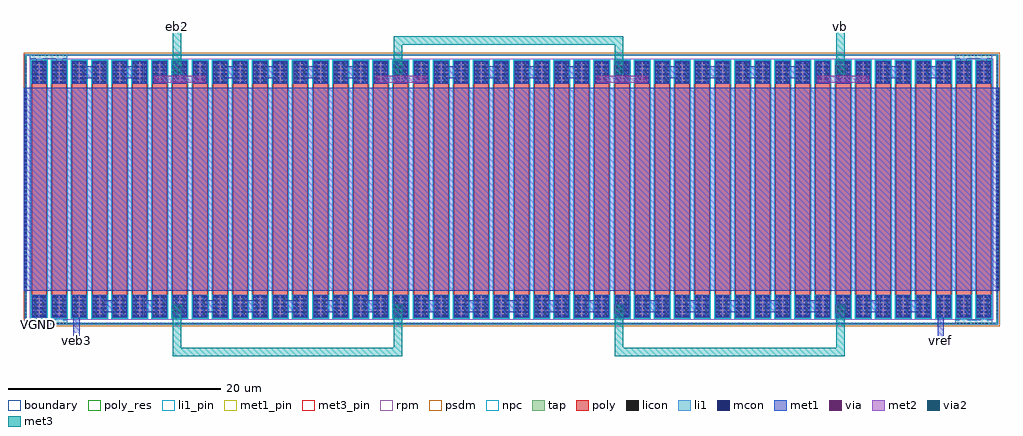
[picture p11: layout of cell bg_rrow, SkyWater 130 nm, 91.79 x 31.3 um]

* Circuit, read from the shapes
.subckt bg_rrow VGND eb2 vb veb3 vref
XR1 VGND VGND VGND sky130_fd_pr__res_high_po w=1.41 l=19.88 m=4
XR2 bg_rrow_arr_0/sky130_fd_pr__res_high_po_1p41_C8HEG8_0/R1_2 veb3 VGND sky130_fd_pr__res_high_po w=1.41 l=19.88
XR3 bg_rrow_arr_0/sky130_fd_pr__res_high_po_1p41_C8HEG8_0/R1_2 bg_rrow_arr_0/sky130_fd_pr__res_high_po_1p41_C8HEG8_0/R2_3 VGND sky130_fd_pr__res_high_po w=1.41 l=19.88
XR4 bg_rrow_arr_0/sky130_fd_pr__res_high_po_1p41_C8HEG8_0/R1_4 bg_rrow_arr_0/sky130_fd_pr__res_high_po_1p41_C8HEG8_0/R2_3 VGND sky130_fd_pr__res_high_po w=1.41 l=19.88
XR5 bg_rrow_arr_0/sky130_fd_pr__res_high_po_1p41_C8HEG8_0/R1_4 bg_rrow_arr_0/sky130_fd_pr__res_high_po_1p41_C8HEG8_0/R2_5 VGND sky130_fd_pr__res_high_po w=1.41 l=19.88
XR6 bg_rrow_arr_0/sky130_fd_pr__res_high_po_1p41_C8HEG8_0/R1_6 bg_rrow_arr_0/sky130_fd_pr__res_high_po_1p41_C8HEG8_0/R2_5 VGND sky130_fd_pr__res_high_po w=1.41 l=19.88
XR7 eb2 bg_rrow_arr_0/sky130_fd_pr__res_high_po_1p41_C8HEG8_0/R2_18 VGND sky130_fd_pr__res_high_po w=1.41 l=19.88
XR8 bg_rrow_arr_0/sky130_fd_pr__res_high_po_1p41_C8HEG8_0/R1_6 bg_rrow_arr_0/sky130_fd_pr__res_high_po_1p41_C8HEG8_0/R2_8 VGND sky130_fd_pr__res_high_po w=1.41 l=19.88
XR9 bg_rrow_arr_0/sky130_fd_pr__res_high_po_1p41_C8HEG8_0/R1_10 bg_rrow_arr_0/sky130_fd_pr__res_high_po_1p41_C8HEG8_0/R2_8 VGND sky130_fd_pr__res_high_po w=1.41 l=19.88
XR10 bg_rrow_arr_0/sky130_fd_pr__res_high_po_1p41_C8HEG8_0/R1_10 bg_rrow_arr_0/sky130_fd_pr__res_high_po_1p41_C8HEG8_0/R2_10 VGND sky130_fd_pr__res_high_po w=1.41 l=19.88
XR11 bg_rrow_arr_0/sky130_fd_pr__res_high_po_1p41_C8HEG8_0/R1_11 bg_rrow_arr_0/sky130_fd_pr__res_high_po_1p41_C8HEG8_0/R2_10 VGND sky130_fd_pr__res_high_po w=1.41 l=19.88
XR12 bg_rrow_arr_0/sky130_fd_pr__res_high_po_1p41_C8HEG8_0/R1_11 bg_rrow_arr_0/sky130_fd_pr__res_high_po_1p41_C8HEG8_0/R2_12 VGND sky130_fd_pr__res_high_po w=1.41 l=19.88
XR13 bg_rrow_arr_0/sky130_fd_pr__res_high_po_1p41_C8HEG8_0/R1_13 bg_rrow_arr_0/sky130_fd_pr__res_high_po_1p41_C8HEG8_0/R2_12 VGND sky130_fd_pr__res_high_po w=1.41 l=19.88
XR14 bg_rrow_arr_0/sky130_fd_pr__res_high_po_1p41_C8HEG8_0/R1_13 bg_rrow_arr_0/sky130_fd_pr__res_high_po_1p41_C8HEG8_0/R2_14 VGND sky130_fd_pr__res_high_po w=1.41 l=19.88
XR15 bg_rrow_arr_0/sky130_fd_pr__res_high_po_1p41_C8HEG8_0/R1_15 bg_rrow_arr_0/sky130_fd_pr__res_high_po_1p41_C8HEG8_0/R2_14 VGND sky130_fd_pr__res_high_po w=1.41 l=19.88
XR16 bg_rrow_arr_0/sky130_fd_pr__res_high_po_1p41_C8HEG8_0/R1_15 bg_rrow_arr_0/sky130_fd_pr__res_high_po_1p41_C8HEG8_0/R2_16 VGND sky130_fd_pr__res_high_po w=1.41 l=19.88
XR17 bg_rrow_arr_0/sky130_fd_pr__res_high_po_1p41_C8HEG8_0/R1_17 bg_rrow_arr_0/sky130_fd_pr__res_high_po_1p41_C8HEG8_0/R2_16 VGND sky130_fd_pr__res_high_po w=1.41 l=19.88
XR18 bg_rrow_arr_0/sky130_fd_pr__res_high_po_1p41_C8HEG8_0/R1_18 bg_rrow_arr_0/sky130_fd_pr__res_high_po_1p41_C8HEG8_0/R2_18 VGND sky130_fd_pr__res_high_po w=1.41 l=19.88
XR19 bg_rrow_arr_0/sky130_fd_pr__res_high_po_1p41_C8HEG8_0/R1_17 bg_rrow_arr_0/sky130_fd_pr__res_high_po_1p41_C8HEG8_0/R2_19 VGND sky130_fd_pr__res_high_po w=1.41 l=19.88
XR20 bg_rrow_arr_0/sky130_fd_pr__res_high_po_1p41_C8HEG8_0/R1_20 bg_rrow_arr_0/sky130_fd_pr__res_high_po_1p41_C8HEG8_0/R2_19 VGND sky130_fd_pr__res_high_po w=1.41 l=19.88
XR21 bg_rrow_arr_0/sky130_fd_pr__res_high_po_1p41_C8HEG8_0/R1_20 bg_rrow_arr_0/sky130_fd_pr__res_high_po_1p41_C8HEG8_0/R2_21 VGND sky130_fd_pr__res_high_po w=1.41 l=19.88
XR22 bg_rrow_arr_0/sky130_fd_pr__res_high_po_1p41_C8HEG8_0/R1_22 bg_rrow_arr_0/sky130_fd_pr__res_high_po_1p41_C8HEG8_0/R2_21 VGND sky130_fd_pr__res_high_po w=1.41 l=19.88
XR23 bg_rrow_arr_0/sky130_fd_pr__res_high_po_1p41_C8HEG8_0/R1_22 bg_rrow_arr_0/sky130_fd_pr__res_high_po_1p41_C8HEG8_0/R2_23 VGND sky130_fd_pr__res_high_po w=1.41 l=19.88
XR24 bg_rrow_arr_0/sky130_fd_pr__res_high_po_1p41_C8HEG8_0/R1_24 bg_rrow_arr_0/sky130_fd_pr__res_high_po_1p41_C8HEG8_0/R2_23 VGND sky130_fd_pr__res_high_po w=1.41 l=19.88
XR25 bg_rrow_arr_0/sky130_fd_pr__res_high_po_1p41_C8HEG8_0/R1_24 bg_rrow_arr_0/sky130_fd_pr__res_high_po_1p41_C8HEG8_0/R2_25 VGND sky130_fd_pr__res_high_po w=1.41 l=19.88
XR26 bg_rrow_arr_0/sky130_fd_pr__res_high_po_1p41_C8HEG8_0/R1_26 bg_rrow_arr_0/sky130_fd_pr__res_high_po_1p41_C8HEG8_0/R2_25 VGND sky130_fd_pr__res_high_po w=1.41 l=19.88
XR27 bg_rrow_arr_0/sky130_fd_pr__res_high_po_1p41_C8HEG8_0/R1_26 bg_rrow_arr_0/sky130_fd_pr__res_high_po_1p41_C8HEG8_0/R2_27 VGND sky130_fd_pr__res_high_po w=1.41 l=19.88
XR28 bg_rrow_arr_0/sky130_fd_pr__res_high_po_1p41_C8HEG8_0/R1_28 bg_rrow_arr_0/sky130_fd_pr__res_high_po_1p41_C8HEG8_0/R2_27 VGND sky130_fd_pr__res_high_po w=1.41 l=19.88
XR29 bg_rrow_arr_0/sky130_fd_pr__res_high_po_1p41_C8HEG8_0/R1_18 bg_rrow_arr_0/sky130_fd_pr__res_high_po_1p41_C8HEG8_0/R2_29 VGND sky130_fd_pr__res_high_po w=1.41 l=19.88
XR30 bg_rrow_arr_0/sky130_fd_pr__res_high_po_1p41_C8HEG8_0/R1_28 bg_rrow_arr_0/sky130_fd_pr__res_high_po_1p41_C8HEG8_0/R2_30 VGND sky130_fd_pr__res_high_po w=1.41 l=19.88
XR31 bg_rrow_arr_0/sky130_fd_pr__res_high_po_1p41_C8HEG8_0/R1_31 bg_rrow_arr_0/sky130_fd_pr__res_high_po_1p41_C8HEG8_0/R2_30 VGND sky130_fd_pr__res_high_po w=1.41 l=19.88
XR32 bg_rrow_arr_0/sky130_fd_pr__res_high_po_1p41_C8HEG8_0/R1_31 bg_rrow_arr_0/sky130_fd_pr__res_high_po_1p41_C8HEG8_0/R2_32 VGND sky130_fd_pr__res_high_po w=1.41 l=19.88
XR33 bg_rrow_arr_0/sky130_fd_pr__res_high_po_1p41_C8HEG8_0/R1_33 bg_rrow_arr_0/sky130_fd_pr__res_high_po_1p41_C8HEG8_0/R2_32 VGND sky130_fd_pr__res_high_po w=1.41 l=19.88
XR34 bg_rrow_arr_0/sky130_fd_pr__res_high_po_1p41_C8HEG8_0/R1_33 bg_rrow_arr_0/sky130_fd_pr__res_high_po_1p41_C8HEG8_0/R2_34 VGND sky130_fd_pr__res_high_po w=1.41 l=19.88
XR35 bg_rrow_arr_0/sky130_fd_pr__res_high_po_1p41_C8HEG8_0/R1_35 bg_rrow_arr_0/sky130_fd_pr__res_high_po_1p41_C8HEG8_0/R2_34 VGND sky130_fd_pr__res_high_po w=1.41 l=19.88
XR36 bg_rrow_arr_0/sky130_fd_pr__res_high_po_1p41_C8HEG8_0/R1_35 bg_rrow_arr_0/sky130_fd_pr__res_high_po_1p41_C8HEG8_0/R2_36 VGND sky130_fd_pr__res_high_po w=1.41 l=19.88
XR37 bg_rrow_arr_0/sky130_fd_pr__res_high_po_1p41_C8HEG8_0/R1_37 bg_rrow_arr_0/sky130_fd_pr__res_high_po_1p41_C8HEG8_0/R2_36 VGND sky130_fd_pr__res_high_po w=1.41 l=19.88
XR38 bg_rrow_arr_0/sky130_fd_pr__res_high_po_1p41_C8HEG8_0/R1_37 bg_rrow_arr_0/sky130_fd_pr__res_high_po_1p41_C8HEG8_0/R2_38 VGND sky130_fd_pr__res_high_po w=1.41 l=19.88
XR39 bg_rrow_arr_0/sky130_fd_pr__res_high_po_1p41_C8HEG8_0/R1_39 bg_rrow_arr_0/sky130_fd_pr__res_high_po_1p41_C8HEG8_0/R2_38 VGND sky130_fd_pr__res_high_po w=1.41 l=19.88
XR40 vb bg_rrow_arr_0/sky130_fd_pr__res_high_po_1p41_C8HEG8_0/R2_29 VGND sky130_fd_pr__res_high_po w=1.41 l=19.88
XR41 bg_rrow_arr_0/sky130_fd_pr__res_high_po_1p41_C8HEG8_0/R1_39 bg_rrow_arr_0/sky130_fd_pr__res_high_po_1p41_C8HEG8_0/R2_41 VGND sky130_fd_pr__res_high_po w=1.41 l=19.88
XR42 bg_rrow_arr_0/sky130_fd_pr__res_high_po_1p41_C8HEG8_0/R1_42 bg_rrow_arr_0/sky130_fd_pr__res_high_po_1p41_C8HEG8_0/R2_41 VGND sky130_fd_pr__res_high_po w=1.41 l=19.88
XR43 bg_rrow_arr_0/sky130_fd_pr__res_high_po_1p41_C8HEG8_0/R1_42 bg_rrow_arr_0/sky130_fd_pr__res_high_po_1p41_C8HEG8_0/R2_43 VGND sky130_fd_pr__res_high_po w=1.41 l=19.88
XR44 bg_rrow_arr_0/sky130_fd_pr__res_high_po_1p41_C8HEG8_0/R1_44 bg_rrow_arr_0/sky130_fd_pr__res_high_po_1p41_C8HEG8_0/R2_43 VGND sky130_fd_pr__res_high_po w=1.41 l=19.88
XR45 bg_rrow_arr_0/sky130_fd_pr__res_high_po_1p41_C8HEG8_0/R1_44 vref VGND sky130_fd_pr__res_high_po w=1.41 l=19.88
.ends

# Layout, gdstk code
import gdstk
lib = gdstk.Library(unit=1e-6, precision=1e-09)
def R(c, l, rs):  # rectangles x0, y0, x1, y1
    for r in rs: c.add(gdstk.rectangle(r[:2], r[2:], *l))
def A(c, l, x, y, w, h, nx, ny, dx, dy):  # array of equal rectangles
    R(c, l, [(x+i*dx, y+j*dy, x+i*dx+w, y+j*dy+h) for i in range(nx) for j in range(ny)])
tap = (65, 44)
poly_res = (66, 13)
poly = (66, 20)
licon = (66, 44)
li1_pin = (67, 16)
li1 = (67, 20)
mcon = (67, 44)
met1_pin = (68, 16)
met1 = (68, 20)
via = (68, 44)
met2 = (69, 20)
via2 = (69, 44)
met3_pin = (70, 16)
met3 = (70, 20)
rpm = (86, 20)
psdm = (94, 20)
npc = (95, 20)
boundary = (235, 4)

sky130_fd_pr__res_high_p = lib.new_cell('sky130_fd_pr__res_high_po_1p41_C8HEG8')
R(sky130_fd_pr__res_high_p, tap, [(-45.77,-12.73,45.77,-12.56), (-45.77,-12.56,-45.6,12.56), (45.6,-12.56,45.77,12.56), (-45.77,12.56,45.77,12.73)])
A(sky130_fd_pr__res_high_p, poly_res, -45.12, -10, 1.41, 20, 48, 1, 1.89, 0)
A(sky130_fd_pr__res_high_p, poly, -45.12, -12.08, 1.41, 24.16, 48, 1, 1.89, 0)
A(sky130_fd_pr__res_high_p, licon, -45.135, -12.73, 0.17, 0.17, 266, 2, 0.34, 25.29)
A(sky130_fd_pr__res_high_p, licon, -45.77, -12.155, 0.17, 0.17, 1, 72, 0, 0.34)
A(sky130_fd_pr__res_high_p, licon, 45.6, -12.155, 0.17, 0.17, 1, 72, 0, 0.34)
R(sky130_fd_pr__res_high_p, licon, [(-44.865,-12,-44.675,-10), (-44.155,-12,-43.965,-10), (-42.975,-12,-42.785,-10), (-42.265,-12,-42.075,-10), (-41.085,-12,-40.895,-10), (-40.375,-12,-40.185,-10), (-39.195,-12,-39.005,-10), (-38.485,-12,-38.295,-10), (-37.305,-12,-37.115,-10), (-36.595,-12,-36.405,-10), (-35.415,-12,-35.225,-10), (-34.705,-12,-34.515,-10), (-33.525,-12,-33.335,-10), (-32.815,-12,-32.625,-10), (-31.635,-12,-31.445,-10), (-30.925,-12,-30.735,-10), (-29.745,-12,-29.555,-10), (-29.035,-12,-28.845,-10), (-27.855,-12,-27.665,-10), (-27.145,-12,-26.955,-10), (-25.965,-12,-25.775,-10), (-25.255,-12,-25.065,-10), (-24.075,-12,-23.885,-10), (-23.365,-12,-23.175,-10), (-22.185,-12,-21.995,-10), (-21.475,-12,-21.285,-10), (-20.295,-12,-20.105,-10), (-19.585,-12,-19.395,-10), (-18.405,-12,-18.215,-10), (-17.695,-12,-17.505,-10), (-16.515,-12,-16.325,-10), (-15.805,-12,-15.615,-10), (-14.625,-12,-14.435,-10), (-13.915,-12,-13.725,-10), (-12.735,-12,-12.545,-10), (-12.025,-12,-11.835,-10), (-10.845,-12,-10.655,-10), (-10.135,-12,-9.945,-10), (-8.955,-12,-8.765,-10), (-8.245,-12,-8.055,-10), (-7.065,-12,-6.875,-10), (-6.355,-12,-6.165,-10), (-5.175,-12,-4.985,-10), (-4.465,-12,-4.275,-10), (-3.285,-12,-3.095,-10), (-2.575,-12,-2.385,-10), (-1.395,-12,-1.205,-10), (-0.685,-12,-0.495,-10), (0.495,-12,0.685,-10), (1.205,-12,1.395,-10), (2.385,-12,2.575,-10), (3.095,-12,3.285,-10), (4.275,-12,4.465,-10), (4.985,-12,5.175,-10), (6.165,-12,6.355,-10), (6.875,-12,7.065,-10), (8.055,-12,8.245,-10), (8.765,-12,8.955,-10), (9.945,-12,10.135,-10), (10.655,-12,10.845,-10), (11.835,-12,12.025,-10), (12.545,-12,12.735,-10), (13.725,-12,13.915,-10), (14.435,-12,14.625,-10), (15.615,-12,15.805,-10), (16.325,-12,16.515,-10), (17.505,-12,17.695,-10), (18.215,-12,18.405,-10), (19.395,-12,19.585,-10), (20.105,-12,20.295,-10), (21.285,-12,21.475,-10), (21.995,-12,22.185,-10), (23.175,-12,23.365,-10), (23.885,-12,24.075,-10), (25.065,-12,25.255,-10), (25.775,-12,25.965,-10), (26.955,-12,27.145,-10), (27.665,-12,27.855,-10), (28.845,-12,29.035,-10), (29.555,-12,29.745,-10), (30.735,-12,30.925,-10), (31.445,-12,31.635,-10), (32.625,-12,32.815,-10), (33.335,-12,33.525,-10), (34.515,-12,34.705,-10), (35.225,-12,35.415,-10), (36.405,-12,36.595,-10), (37.115,-12,37.305,-10), (38.295,-12,38.485,-10), (39.005,-12,39.195,-10), (40.185,-12,40.375,-10), (40.895,-12,41.085,-10), (42.075,-12,42.265,-10), (42.785,-12,42.975,-10), (43.965,-12,44.155,-10), (44.675,-12,44.865,-10), (-44.865,10,-44.675,12), (-44.155,10,-43.965,12), (-42.975,10,-42.785,12), (-42.265,10,-42.075,12), (-41.085,10,-40.895,12), (-40.375,10,-40.185,12), (-39.195,10,-39.005,12), (-38.485,10,-38.295,12), (-37.305,10,-37.115,12), (-36.595,10,-36.405,12), (-35.415,10,-35.225,12), (-34.705,10,-34.515,12), (-33.525,10,-33.335,12), (-32.815,10,-32.625,12), (-31.635,10,-31.445,12), (-30.925,10,-30.735,12), (-29.745,10,-29.555,12), (-29.035,10,-28.845,12), (-27.855,10,-27.665,12), (-27.145,10,-26.955,12), (-25.965,10,-25.775,12), (-25.255,10,-25.065,12), (-24.075,10,-23.885,12), (-23.365,10,-23.175,12), (-22.185,10,-21.995,12), (-21.475,10,-21.285,12), (-20.295,10,-20.105,12), (-19.585,10,-19.395,12), (-18.405,10,-18.215,12), (-17.695,10,-17.505,12), (-16.515,10,-16.325,12), (-15.805,10,-15.615,12), (-14.625,10,-14.435,12), (-13.915,10,-13.725,12), (-12.735,10,-12.545,12), (-12.025,10,-11.835,12), (-10.845,10,-10.655,12), (-10.135,10,-9.945,12), (-8.955,10,-8.765,12), (-8.245,10,-8.055,12), (-7.065,10,-6.875,12), (-6.355,10,-6.165,12), (-5.175,10,-4.985,12), (-4.465,10,-4.275,12), (-3.285,10,-3.095,12), (-2.575,10,-2.385,12), (-1.395,10,-1.205,12), (-0.685,10,-0.495,12), (0.495,10,0.685,12), (1.205,10,1.395,12), (2.385,10,2.575,12), (3.095,10,3.285,12), (4.275,10,4.465,12), (4.985,10,5.175,12), (6.165,10,6.355,12), (6.875,10,7.065,12), (8.055,10,8.245,12), (8.765,10,8.955,12), (9.945,10,10.135,12), (10.655,10,10.845,12), (11.835,10,12.025,12), (12.545,10,12.735,12), (13.725,10,13.915,12), (14.435,10,14.625,12), (15.615,10,15.805,12), (16.325,10,16.515,12), (17.505,10,17.695,12), (18.215,10,18.405,12), (19.395,10,19.585,12), (20.105,10,20.295,12), (21.285,10,21.475,12), (21.995,10,22.185,12), (23.175,10,23.365,12), (23.885,10,24.075,12), (25.065,10,25.255,12), (25.775,10,25.965,12), (26.955,10,27.145,12), (27.665,10,27.855,12), (28.845,10,29.035,12), (29.555,10,29.745,12), (30.735,10,30.925,12), (31.445,10,31.635,12), (32.625,10,32.815,12), (33.335,10,33.525,12), (34.515,10,34.705,12), (35.225,10,35.415,12), (36.405,10,36.595,12), (37.115,10,37.305,12), (38.295,10,38.485,12), (39.005,10,39.195,12), (40.185,10,40.375,12), (40.895,10,41.085,12), (42.075,10,42.265,12), (42.785,10,42.975,12), (43.965,10,44.155,12), (44.675,10,44.865,12)])
A(sky130_fd_pr__res_high_p, li1, -45.12, -12.08, 1.41, 2.16, 48, 2, 1.89, 22)
R(sky130_fd_pr__res_high_p, li1, [(-45.77,-12.73,45.77,-12.56), (-45.77,-12.56,-45.6,12.56), (45.6,-12.56,45.77,12.56), (-45.77,12.56,45.77,12.73)])
A(sky130_fd_pr__res_high_p, mcon, -45.04, -11.985, 0.17, 0.17, 4, 6, 0.36, 0.36)
A(sky130_fd_pr__res_high_p, mcon, -43.15, -11.985, 0.17, 0.17, 4, 6, 0.36, 0.36)
A(sky130_fd_pr__res_high_p, mcon, -41.26, -11.985, 0.17, 0.17, 4, 6, 0.36, 0.36)
A(sky130_fd_pr__res_high_p, mcon, -39.37, -11.985, 0.17, 0.17, 4, 6, 0.36, 0.36)
A(sky130_fd_pr__res_high_p, mcon, -37.48, -11.985, 0.17, 0.17, 4, 6, 0.36, 0.36)
A(sky130_fd_pr__res_high_p, mcon, -35.59, -11.985, 0.17, 0.17, 4, 6, 0.36, 0.36)
A(sky130_fd_pr__res_high_p, mcon, -33.7, -11.985, 0.17, 0.17, 4, 6, 0.36, 0.36)
A(sky130_fd_pr__res_high_p, mcon, -31.81, -11.985, 0.17, 0.17, 4, 6, 0.36, 0.36)
A(sky130_fd_pr__res_high_p, mcon, -29.92, -11.985, 0.17, 0.17, 4, 6, 0.36, 0.36)
A(sky130_fd_pr__res_high_p, mcon, -28.03, -11.985, 0.17, 0.17, 4, 6, 0.36, 0.36)
A(sky130_fd_pr__res_high_p, mcon, -26.14, -11.985, 0.17, 0.17, 4, 6, 0.36, 0.36)
A(sky130_fd_pr__res_high_p, mcon, -24.25, -11.985, 0.17, 0.17, 4, 6, 0.36, 0.36)
A(sky130_fd_pr__res_high_p, mcon, -22.36, -11.985, 0.17, 0.17, 4, 6, 0.36, 0.36)
A(sky130_fd_pr__res_high_p, mcon, -20.47, -11.985, 0.17, 0.17, 4, 6, 0.36, 0.36)
A(sky130_fd_pr__res_high_p, mcon, -18.58, -11.985, 0.17, 0.17, 4, 6, 0.36, 0.36)
A(sky130_fd_pr__res_high_p, mcon, -16.69, -11.985, 0.17, 0.17, 4, 6, 0.36, 0.36)
A(sky130_fd_pr__res_high_p, mcon, -14.8, -11.985, 0.17, 0.17, 4, 6, 0.36, 0.36)
A(sky130_fd_pr__res_high_p, mcon, -12.91, -11.985, 0.17, 0.17, 4, 6, 0.36, 0.36)
A(sky130_fd_pr__res_high_p, mcon, -11.02, -11.985, 0.17, 0.17, 4, 6, 0.36, 0.36)
A(sky130_fd_pr__res_high_p, mcon, -9.13, -11.985, 0.17, 0.17, 4, 6, 0.36, 0.36)
A(sky130_fd_pr__res_high_p, mcon, -7.24, -11.985, 0.17, 0.17, 4, 6, 0.36, 0.36)
A(sky130_fd_pr__res_high_p, mcon, -5.35, -11.985, 0.17, 0.17, 4, 6, 0.36, 0.36)
A(sky130_fd_pr__res_high_p, mcon, -3.46, -11.985, 0.17, 0.17, 4, 6, 0.36, 0.36)
A(sky130_fd_pr__res_high_p, mcon, -1.57, -11.985, 0.17, 0.17, 4, 6, 0.36, 0.36)
A(sky130_fd_pr__res_high_p, mcon, 0.32, -11.985, 0.17, 0.17, 4, 6, 0.36, 0.36)
A(sky130_fd_pr__res_high_p, mcon, 2.21, -11.985, 0.17, 0.17, 4, 6, 0.36, 0.36)
A(sky130_fd_pr__res_high_p, mcon, 4.1, -11.985, 0.17, 0.17, 4, 6, 0.36, 0.36)
A(sky130_fd_pr__res_high_p, mcon, 5.99, -11.985, 0.17, 0.17, 4, 6, 0.36, 0.36)
A(sky130_fd_pr__res_high_p, mcon, 7.88, -11.985, 0.17, 0.17, 4, 6, 0.36, 0.36)
A(sky130_fd_pr__res_high_p, mcon, 9.77, -11.985, 0.17, 0.17, 4, 6, 0.36, 0.36)
A(sky130_fd_pr__res_high_p, mcon, 11.66, -11.985, 0.17, 0.17, 4, 6, 0.36, 0.36)
A(sky130_fd_pr__res_high_p, mcon, 13.55, -11.985, 0.17, 0.17, 4, 6, 0.36, 0.36)
A(sky130_fd_pr__res_high_p, mcon, 15.44, -11.985, 0.17, 0.17, 4, 6, 0.36, 0.36)
A(sky130_fd_pr__res_high_p, mcon, 17.33, -11.985, 0.17, 0.17, 4, 6, 0.36, 0.36)
A(sky130_fd_pr__res_high_p, mcon, 19.22, -11.985, 0.17, 0.17, 4, 6, 0.36, 0.36)
A(sky130_fd_pr__res_high_p, mcon, 21.11, -11.985, 0.17, 0.17, 4, 6, 0.36, 0.36)
A(sky130_fd_pr__res_high_p, mcon, 23, -11.985, 0.17, 0.17, 4, 6, 0.36, 0.36)
A(sky130_fd_pr__res_high_p, mcon, 24.89, -11.985, 0.17, 0.17, 4, 6, 0.36, 0.36)
A(sky130_fd_pr__res_high_p, mcon, 26.78, -11.985, 0.17, 0.17, 4, 6, 0.36, 0.36)
A(sky130_fd_pr__res_high_p, mcon, 28.67, -11.985, 0.17, 0.17, 4, 6, 0.36, 0.36)
A(sky130_fd_pr__res_high_p, mcon, 30.56, -11.985, 0.17, 0.17, 4, 6, 0.36, 0.36)
A(sky130_fd_pr__res_high_p, mcon, 32.45, -11.985, 0.17, 0.17, 4, 6, 0.36, 0.36)
A(sky130_fd_pr__res_high_p, mcon, 34.34, -11.985, 0.17, 0.17, 4, 6, 0.36, 0.36)
A(sky130_fd_pr__res_high_p, mcon, 36.23, -11.985, 0.17, 0.17, 4, 6, 0.36, 0.36)
A(sky130_fd_pr__res_high_p, mcon, 38.12, -11.985, 0.17, 0.17, 4, 6, 0.36, 0.36)
A(sky130_fd_pr__res_high_p, mcon, 40.01, -11.985, 0.17, 0.17, 4, 6, 0.36, 0.36)
A(sky130_fd_pr__res_high_p, mcon, 41.9, -11.985, 0.17, 0.17, 4, 6, 0.36, 0.36)
A(sky130_fd_pr__res_high_p, mcon, 43.79, -11.985, 0.17, 0.17, 4, 6, 0.36, 0.36)
A(sky130_fd_pr__res_high_p, mcon, -45.04, 10.01, 0.17, 0.17, 4, 6, 0.36, 0.36)
A(sky130_fd_pr__res_high_p, mcon, -43.15, 10.01, 0.17, 0.17, 4, 6, 0.36, 0.36)
A(sky130_fd_pr__res_high_p, mcon, -41.26, 10.01, 0.17, 0.17, 4, 6, 0.36, 0.36)
A(sky130_fd_pr__res_high_p, mcon, -39.37, 10.01, 0.17, 0.17, 4, 6, 0.36, 0.36)
A(sky130_fd_pr__res_high_p, mcon, -37.48, 10.01, 0.17, 0.17, 4, 6, 0.36, 0.36)
A(sky130_fd_pr__res_high_p, mcon, -35.59, 10.01, 0.17, 0.17, 4, 6, 0.36, 0.36)
A(sky130_fd_pr__res_high_p, mcon, -33.7, 10.01, 0.17, 0.17, 4, 6, 0.36, 0.36)
A(sky130_fd_pr__res_high_p, mcon, -31.81, 10.01, 0.17, 0.17, 4, 6, 0.36, 0.36)
A(sky130_fd_pr__res_high_p, mcon, -29.92, 10.01, 0.17, 0.17, 4, 6, 0.36, 0.36)
A(sky130_fd_pr__res_high_p, mcon, -28.03, 10.01, 0.17, 0.17, 4, 6, 0.36, 0.36)
A(sky130_fd_pr__res_high_p, mcon, -26.14, 10.01, 0.17, 0.17, 4, 6, 0.36, 0.36)
A(sky130_fd_pr__res_high_p, mcon, -24.25, 10.01, 0.17, 0.17, 4, 6, 0.36, 0.36)
A(sky130_fd_pr__res_high_p, mcon, -22.36, 10.01, 0.17, 0.17, 4, 6, 0.36, 0.36)
A(sky130_fd_pr__res_high_p, mcon, -20.47, 10.01, 0.17, 0.17, 4, 6, 0.36, 0.36)
A(sky130_fd_pr__res_high_p, mcon, -18.58, 10.01, 0.17, 0.17, 4, 6, 0.36, 0.36)
A(sky130_fd_pr__res_high_p, mcon, -16.69, 10.01, 0.17, 0.17, 4, 6, 0.36, 0.36)
A(sky130_fd_pr__res_high_p, mcon, -14.8, 10.01, 0.17, 0.17, 4, 6, 0.36, 0.36)
A(sky130_fd_pr__res_high_p, mcon, -12.91, 10.01, 0.17, 0.17, 4, 6, 0.36, 0.36)
A(sky130_fd_pr__res_high_p, mcon, -11.02, 10.01, 0.17, 0.17, 4, 6, 0.36, 0.36)
A(sky130_fd_pr__res_high_p, mcon, -9.13, 10.01, 0.17, 0.17, 4, 6, 0.36, 0.36)
A(sky130_fd_pr__res_high_p, mcon, -7.24, 10.01, 0.17, 0.17, 4, 6, 0.36, 0.36)
A(sky130_fd_pr__res_high_p, mcon, -5.35, 10.01, 0.17, 0.17, 4, 6, 0.36, 0.36)
A(sky130_fd_pr__res_high_p, mcon, -3.46, 10.01, 0.17, 0.17, 4, 6, 0.36, 0.36)
A(sky130_fd_pr__res_high_p, mcon, -1.57, 10.01, 0.17, 0.17, 4, 6, 0.36, 0.36)
A(sky130_fd_pr__res_high_p, mcon, 0.32, 10.01, 0.17, 0.17, 4, 6, 0.36, 0.36)
A(sky130_fd_pr__res_high_p, mcon, 2.21, 10.01, 0.17, 0.17, 4, 6, 0.36, 0.36)
A(sky130_fd_pr__res_high_p, mcon, 4.1, 10.01, 0.17, 0.17, 4, 6, 0.36, 0.36)
A(sky130_fd_pr__res_high_p, mcon, 5.99, 10.01, 0.17, 0.17, 4, 6, 0.36, 0.36)
A(sky130_fd_pr__res_high_p, mcon, 7.88, 10.01, 0.17, 0.17, 4, 6, 0.36, 0.36)
A(sky130_fd_pr__res_high_p, mcon, 9.77, 10.01, 0.17, 0.17, 4, 6, 0.36, 0.36)
A(sky130_fd_pr__res_high_p, mcon, 11.66, 10.01, 0.17, 0.17, 4, 6, 0.36, 0.36)
A(sky130_fd_pr__res_high_p, mcon, 13.55, 10.01, 0.17, 0.17, 4, 6, 0.36, 0.36)
A(sky130_fd_pr__res_high_p, mcon, 15.44, 10.01, 0.17, 0.17, 4, 6, 0.36, 0.36)
A(sky130_fd_pr__res_high_p, mcon, 17.33, 10.01, 0.17, 0.17, 4, 6, 0.36, 0.36)
A(sky130_fd_pr__res_high_p, mcon, 19.22, 10.01, 0.17, 0.17, 4, 6, 0.36, 0.36)
A(sky130_fd_pr__res_high_p, mcon, 21.11, 10.01, 0.17, 0.17, 4, 6, 0.36, 0.36)
A(sky130_fd_pr__res_high_p, mcon, 23, 10.01, 0.17, 0.17, 4, 6, 0.36, 0.36)
A(sky130_fd_pr__res_high_p, mcon, 24.89, 10.01, 0.17, 0.17, 4, 6, 0.36, 0.36)
A(sky130_fd_pr__res_high_p, mcon, 26.78, 10.01, 0.17, 0.17, 4, 6, 0.36, 0.36)
A(sky130_fd_pr__res_high_p, mcon, 28.67, 10.01, 0.17, 0.17, 4, 6, 0.36, 0.36)
A(sky130_fd_pr__res_high_p, mcon, 30.56, 10.01, 0.17, 0.17, 4, 6, 0.36, 0.36)
A(sky130_fd_pr__res_high_p, mcon, 32.45, 10.01, 0.17, 0.17, 4, 6, 0.36, 0.36)
A(sky130_fd_pr__res_high_p, mcon, 34.34, 10.01, 0.17, 0.17, 4, 6, 0.36, 0.36)
A(sky130_fd_pr__res_high_p, mcon, 36.23, 10.01, 0.17, 0.17, 4, 6, 0.36, 0.36)
A(sky130_fd_pr__res_high_p, mcon, 38.12, 10.01, 0.17, 0.17, 4, 6, 0.36, 0.36)
A(sky130_fd_pr__res_high_p, mcon, 40.01, 10.01, 0.17, 0.17, 4, 6, 0.36, 0.36)
A(sky130_fd_pr__res_high_p, mcon, 41.9, 10.01, 0.17, 0.17, 4, 6, 0.36, 0.36)
A(sky130_fd_pr__res_high_p, mcon, 43.79, 10.01, 0.17, 0.17, 4, 6, 0.36, 0.36)
A(sky130_fd_pr__res_high_p, met1, -45.07, -12.05, 1.31, 2.105, 48, 2, 1.89, 21.995)
R(sky130_fd_pr__res_high_p, rpm, [(-45.32,-12.28,45.32,12.28)])
R(sky130_fd_pr__res_high_p, psdm, [(-45.895,-12.855,45.895,12.855)])
A(sky130_fd_pr__res_high_p, npc, -45.215, -12.175, 1.6, 24.35, 48, 1, 1.89, 0)
R(sky130_fd_pr__res_high_p, boundary, [(-45.685,-12.645,45.685,12.645)])
sky130_fd_pr__res_high_p.add(gdstk.Label('R1_46', (42.525,11.905), layer=67, texttype=5))
sky130_fd_pr__res_high_p.add(gdstk.Label('R2_45', (40.635,-11.905), layer=67, texttype=5))
sky130_fd_pr__res_high_p.add(gdstk.Label('R1_45', (40.635,11.905), layer=67, texttype=5))
sky130_fd_pr__res_high_p.add(gdstk.Label('R1_44', (38.745,11.905), layer=67, texttype=5))
sky130_fd_pr__res_high_p.add(gdstk.Label('R2_43', (36.855,-11.905), layer=67, texttype=5))
sky130_fd_pr__res_high_p.add(gdstk.Label('R2_42', (34.965,-11.905), layer=67, texttype=5))
sky130_fd_pr__res_high_p.add(gdstk.Label('R1_42', (34.965,11.905), layer=67, texttype=5))
sky130_fd_pr__res_high_p.add(gdstk.Label('R2_41', (33.075,-11.905), layer=67, texttype=5))
sky130_fd_pr__res_high_p.add(gdstk.Label('R2_40', (31.185,-11.905), layer=67, texttype=5))
sky130_fd_pr__res_high_p.add(gdstk.Label('R1_40', (31.185,11.905), layer=67, texttype=5))
sky130_fd_pr__res_high_p.add(gdstk.Label('R1_39', (29.295,11.905), layer=67, texttype=5))
sky130_fd_pr__res_high_p.add(gdstk.Label('R2_38', (27.405,-11.905), layer=67, texttype=5))
sky130_fd_pr__res_high_p.add(gdstk.Label('R2_37', (25.515,-11.905), layer=67, texttype=5))
sky130_fd_pr__res_high_p.add(gdstk.Label('R2_36', (23.625,-11.905), layer=67, texttype=5))
sky130_fd_pr__res_high_p.add(gdstk.Label('R2_35', (21.735,-11.905), layer=67, texttype=5))
sky130_fd_pr__res_high_p.add(gdstk.Label('R1_35', (21.735,11.905), layer=67, texttype=5))
sky130_fd_pr__res_high_p.add(gdstk.Label('R2_34', (19.845,-11.905), layer=67, texttype=5))
sky130_fd_pr__res_high_p.add(gdstk.Label('R1_34', (19.845,11.905), layer=67, texttype=5))
sky130_fd_pr__res_high_p.add(gdstk.Label('R2_33', (17.955,-11.905), layer=67, texttype=5))
sky130_fd_pr__res_high_p.add(gdstk.Label('R2_31', (14.175,-11.905), layer=67, texttype=5))
sky130_fd_pr__res_high_p.add(gdstk.Label('R2_30', (12.285,-11.905), layer=67, texttype=5))
sky130_fd_pr__res_high_p.add(gdstk.Label('R2_47', (44.415,-11.905), layer=67, texttype=5))
sky130_fd_pr__res_high_p.add(gdstk.Label('R2_29', (10.395,-11.905), layer=67, texttype=5))
sky130_fd_pr__res_high_p.add(gdstk.Label('R1_29', (10.395,11.905), layer=67, texttype=5))
sky130_fd_pr__res_high_p.add(gdstk.Label('R2_13', (-19.845,-11.905), layer=67, texttype=5))
sky130_fd_pr__res_high_p.add(gdstk.Label('R2_10', (-25.515,-11.905), layer=67, texttype=5))
sky130_fd_pr__res_high_p.add(gdstk.Label('R1_38', (27.405,11.905), layer=67, texttype=5))
sky130_fd_pr__res_high_p.add(gdstk.Label('R2_21', (-4.725,-11.905), layer=67, texttype=5))
sky130_fd_pr__res_high_p.add(gdstk.Label('R1_26', (4.725,11.905), layer=67, texttype=5))
sky130_fd_pr__res_high_p.add(gdstk.Label('R1_33', (17.955,11.905), layer=67, texttype=5))
sky130_fd_pr__res_high_p.add(gdstk.Label('R2_9', (-27.405,-11.905), layer=67, texttype=5))
sky130_fd_pr__res_high_p.add(gdstk.Label('R1_36', (23.625,11.905), layer=67, texttype=5))
sky130_fd_pr__res_high_p.add(gdstk.Label('R2_11', (-23.625,-11.905), layer=67, texttype=5))
sky130_fd_pr__res_high_p.add(gdstk.Label('R1_21', (-4.725,11.905), layer=67, texttype=5))
sky130_fd_pr__res_high_p.add(gdstk.Label('R2_44', (38.745,-11.905), layer=67, texttype=5))
sky130_fd_pr__res_high_p.add(gdstk.Label('R2_3', (-38.745,-11.905), layer=67, texttype=5))
sky130_fd_pr__res_high_p.add(gdstk.Label('R1_20', (-6.615,11.905), layer=67, texttype=5))
sky130_fd_pr__res_high_p.add(gdstk.Label('R2_7', (-31.185,-11.905), layer=67, texttype=5))
sky130_fd_pr__res_high_p.add(gdstk.Label('R2_46', (42.525,-11.905), layer=67, texttype=5))
sky130_fd_pr__res_high_p.add(gdstk.Label('R1_30', (12.285,11.905), layer=67, texttype=5))
sky130_fd_pr__res_high_p.add(gdstk.Label('B', (0,-12.645), layer=67, texttype=5))
sky130_fd_pr__res_high_p.add(gdstk.Label('R1_47', (44.415,11.905), layer=67, texttype=5))
sky130_fd_pr__res_high_p.add(gdstk.Label('R1_7', (-31.185,11.905), layer=67, texttype=5))
sky130_fd_pr__res_high_p.add(gdstk.Label('R1_11', (-23.625,11.905), layer=67, texttype=5))
sky130_fd_pr__res_high_p.add(gdstk.Label('R2_6', (-33.075,-11.905), layer=67, texttype=5))
sky130_fd_pr__res_high_p.add(gdstk.Label('R2_25', (2.835,-11.905), layer=67, texttype=5))
sky130_fd_pr__res_high_p.add(gdstk.Label('R1_3', (-38.745,11.905), layer=67, texttype=5))
sky130_fd_pr__res_high_p.add(gdstk.Label('R2_27', (6.615,-11.905), layer=67, texttype=5))
sky130_fd_pr__res_high_p.add(gdstk.Label('R1_24', (0.945,11.905), layer=67, texttype=5))
sky130_fd_pr__res_high_p.add(gdstk.Label('R1_1', (-42.525,11.905), layer=67, texttype=5))
sky130_fd_pr__res_high_p.add(gdstk.Label('R1_32', (16.065,11.905), layer=67, texttype=5))
sky130_fd_pr__res_high_p.add(gdstk.Label('R1_15', (-16.065,11.905), layer=67, texttype=5))
sky130_fd_pr__res_high_p.add(gdstk.Label('R2_5', (-34.965,-11.905), layer=67, texttype=5))
sky130_fd_pr__res_high_p.add(gdstk.Label('R2_0', (-44.415,-11.905), layer=67, texttype=5))
sky130_fd_pr__res_high_p.add(gdstk.Label('R1_12', (-21.735,11.905), layer=67, texttype=5))
sky130_fd_pr__res_high_p.add(gdstk.Label('R2_18', (-10.395,-11.905), layer=67, texttype=5))
sky130_fd_pr__res_high_p.add(gdstk.Label('R2_12', (-21.735,-11.905), layer=67, texttype=5))
sky130_fd_pr__res_high_p.add(gdstk.Label('R2_2', (-40.635,-11.905), layer=67, texttype=5))
sky130_fd_pr__res_high_p.add(gdstk.Label('R1_2', (-40.635,11.905), layer=67, texttype=5))
sky130_fd_pr__res_high_p.add(gdstk.Label('R1_37', (25.515,11.905), layer=67, texttype=5))
sky130_fd_pr__res_high_p.add(gdstk.Label('R1_4', (-36.855,11.905), layer=67, texttype=5))
sky130_fd_pr__res_high_p.add(gdstk.Label('R2_39', (29.295,-11.905), layer=67, texttype=5))
sky130_fd_pr__res_high_p.add(gdstk.Label('R2_8', (-29.295,-11.905), layer=67, texttype=5))
sky130_fd_pr__res_high_p.add(gdstk.Label('R2_17', (-12.285,-11.905), layer=67, texttype=5))
sky130_fd_pr__res_high_p.add(gdstk.Label('R1_14', (-17.955,11.905), layer=67, texttype=5))
sky130_fd_pr__res_high_p.add(gdstk.Label('R2_16', (-14.175,-11.905), layer=67, texttype=5))
sky130_fd_pr__res_high_p.add(gdstk.Label('R1_10', (-25.515,11.905), layer=67, texttype=5))
sky130_fd_pr__res_high_p.add(gdstk.Label('R1_13', (-19.845,11.905), layer=67, texttype=5))
sky130_fd_pr__res_high_p.add(gdstk.Label('R2_14', (-17.955,-11.905), layer=67, texttype=5))
sky130_fd_pr__res_high_p.add(gdstk.Label('R2_32', (16.065,-11.905), layer=67, texttype=5))
sky130_fd_pr__res_high_p.add(gdstk.Label('R2_15', (-16.065,-11.905), layer=67, texttype=5))
sky130_fd_pr__res_high_p.add(gdstk.Label('R1_17', (-12.285,11.905), layer=67, texttype=5))
sky130_fd_pr__res_high_p.add(gdstk.Label('R1_43', (36.855,11.905), layer=67, texttype=5))
sky130_fd_pr__res_high_p.add(gdstk.Label('R1_19', (-8.505,11.905), layer=67, texttype=5))
sky130_fd_pr__res_high_p.add(gdstk.Label('R1_6', (-33.075,11.905), layer=67, texttype=5))
sky130_fd_pr__res_high_p.add(gdstk.Label('R1_18', (-10.395,11.905), layer=67, texttype=5))
sky130_fd_pr__res_high_p.add(gdstk.Label('R1_28', (8.505,11.905), layer=67, texttype=5))
sky130_fd_pr__res_high_p.add(gdstk.Label('R2_19', (-8.505,-11.905), layer=67, texttype=5))
sky130_fd_pr__res_high_p.add(gdstk.Label('R1_16', (-14.175,11.905), layer=67, texttype=5))
sky130_fd_pr__res_high_p.add(gdstk.Label('R2_23', (-0.945,-11.905), layer=67, texttype=5))
sky130_fd_pr__res_high_p.add(gdstk.Label('R1_5', (-34.965,11.905), layer=67, texttype=5))
sky130_fd_pr__res_high_p.add(gdstk.Label('R2_20', (-6.615,-11.905), layer=67, texttype=5))
sky130_fd_pr__res_high_p.add(gdstk.Label('R2_4', (-36.855,-11.905), layer=67, texttype=5))
sky130_fd_pr__res_high_p.add(gdstk.Label('R1_22', (-2.835,11.905), layer=67, texttype=5))
sky130_fd_pr__res_high_p.add(gdstk.Label('R2_1', (-42.525,-11.905), layer=67, texttype=5))
sky130_fd_pr__res_high_p.add(gdstk.Label('R1_23', (-0.945,11.905), layer=67, texttype=5))
sky130_fd_pr__res_high_p.add(gdstk.Label('R2_22', (-2.835,-11.905), layer=67, texttype=5))
sky130_fd_pr__res_high_p.add(gdstk.Label('R1_31', (14.175,11.905), layer=67, texttype=5))
sky130_fd_pr__res_high_p.add(gdstk.Label('R1_9', (-27.405,11.905), layer=67, texttype=5))
sky130_fd_pr__res_high_p.add(gdstk.Label('R2_24', (0.945,-11.905), layer=67, texttype=5))
sky130_fd_pr__res_high_p.add(gdstk.Label('R1_41', (33.075,11.905), layer=67, texttype=5))
sky130_fd_pr__res_high_p.add(gdstk.Label('R1_8', (-29.295,11.905), layer=67, texttype=5))
sky130_fd_pr__res_high_p.add(gdstk.Label('R1_25', (2.835,11.905), layer=67, texttype=5))
sky130_fd_pr__res_high_p.add(gdstk.Label('R1_27', (6.615,11.905), layer=67, texttype=5))
sky130_fd_pr__res_high_p.add(gdstk.Label('R2_26', (4.725,-11.905), layer=67, texttype=5))
sky130_fd_pr__res_high_p.add(gdstk.Label('R1_0', (-44.415,11.905), layer=67, texttype=5))
sky130_fd_pr__res_high_p.add(gdstk.Label('R2_28', (8.505,-11.905), layer=67, texttype=5))

bg_rrow_arr = lib.new_cell('bg_rrow_arr')
R(bg_rrow_arr, li1, [(0.4,0,3.9,0.39), (87.4,0,90.9,0.39), (0.97,0.39,1.57,0.8), (2.86,0.39,3.46,0.8), (87.91,0.39,88.51,0.8), (89.8,0.39,90.4,0.8), (-0.085,3.3,0.085,22), (91.285,3.3,91.455,22), (0.97,24.5,1.57,24.95), (2.86,24.5,3.46,24.95), (87.91,24.5,88.51,24.95), (89.8,24.5,90.4,24.95), (0.4,24.95,3.9,25.3), (87.4,24.95,90.9,25.3)])
A(bg_rrow_arr, mcon, -0.085, 3.385, 0.17, 0.17, 1, 52, 0, 0.36)
A(bg_rrow_arr, mcon, 91.285, 3.385, 0.17, 0.17, 1, 52, 0, 0.36)
A(bg_rrow_arr, met1, 16.39, 1.1, 1.89, 1.1, 5, 1, 3.78, 0)
A(bg_rrow_arr, met1, 37.18, 1.1, 1.89, 1.1, 5, 1, 3.78, 0)
A(bg_rrow_arr, met1, 57.97, 1.1, 1.89, 1.1, 5, 1, 3.78, 0)
A(bg_rrow_arr, met1, 18.28, 23.1, 1.89, 1.1, 4, 1, 3.78, 0)
A(bg_rrow_arr, met1, 39.07, 23.1, 1.89, 1.1, 4, 1, 3.78, 0)
A(bg_rrow_arr, met1, 59.86, 23.1, 1.89, 1.1, 4, 1, 3.78, 0)
R(bg_rrow_arr, met1, [(6.94,1.1,8.83,2.2), (10.72,1.1,12.61,2.2), (78.76,1.1,80.65,2.2), (82.54,1.1,84.43,2.2), (-0.2,3.1,91.57,22.19), (12.2,22.75,13.02,23.25), (15.98,22.75,16.8,23.25), (32.99,22.75,33.81,23.25), (36.77,22.75,37.59,23.25), (53.78,22.75,54.6,23.25), (57.56,22.75,58.38,23.25), (74.57,22.75,75.39,23.25), (78.35,22.75,79.17,23.25), (5.05,23.1,6.94,24.2), (8.83,23.1,10.72,24.2), (80.65,23.1,82.54,24.2), (84.43,23.1,86.32,24.2)])
R(bg_rrow_arr, via, [(12.375,22.925,12.525,23.075), (12.695,22.925,12.845,23.075), (16.155,22.925,16.305,23.075), (16.475,22.925,16.625,23.075), (33.165,22.925,33.315,23.075), (33.485,22.925,33.635,23.075), (36.945,22.925,37.095,23.075), (37.265,22.925,37.415,23.075), (53.955,22.925,54.105,23.075), (54.275,22.925,54.425,23.075), (57.735,22.925,57.885,23.075), (58.055,22.925,58.205,23.075), (74.745,22.925,74.895,23.075), (75.065,22.925,75.215,23.075), (78.525,22.925,78.675,23.075), (78.845,22.925,78.995,23.075)])
A(bg_rrow_arr, met2, 12.11, 22.65, 4.78, 0.7, 4, 1, 20.79, 0)
bg_rrow_arr.add(gdstk.Reference(sky130_fd_pr__res_high_p, (45.685,12.645)))

bg_rrow = lib.new_cell('bg_rrow')
R(bg_rrow, li1_pin, [(1.3,0.1,1.7,0.3)])
R(bg_rrow, li1, [(1,0.05,2,0.35)])
R(bg_rrow, met1_pin, [(4.75,-1.6,5.35,-1), (86.02,-1.6,86.62,-1)])
A(bg_rrow, met1, 14.2, 1.35, 0.6, 0.6, 4, 2, 20.79, 22.55)
R(bg_rrow, met1, [(4.75,-1.6,5.35,2), (86.02,-1.6,86.62,2)])
R(bg_rrow, via, [(14.265,1.415,14.415,1.565), (14.585,1.415,14.735,1.565), (35.055,1.415,35.205,1.565), (35.375,1.415,35.525,1.565), (55.845,1.415,55.995,1.565), (56.165,1.415,56.315,1.565), (76.635,1.415,76.785,1.565), (76.955,1.415,77.105,1.565), (14.265,1.735,14.415,1.885), (14.585,1.735,14.735,1.885), (35.055,1.735,35.205,1.885), (35.375,1.735,35.525,1.885), (55.845,1.735,55.995,1.885), (56.165,1.735,56.315,1.885), (76.635,1.735,76.785,1.885), (76.955,1.735,77.105,1.885), (14.265,23.965,14.415,24.115), (14.585,23.965,14.735,24.115), (35.055,23.965,35.205,24.115), (35.375,23.965,35.525,24.115), (55.845,23.965,55.995,24.115), (56.165,23.965,56.315,24.115), (76.635,23.965,76.785,24.115), (76.955,23.965,77.105,24.115), (14.265,24.285,14.415,24.435), (14.585,24.285,14.735,24.435), (35.055,24.285,35.205,24.435), (35.375,24.285,35.525,24.435), (55.845,24.285,55.995,24.435), (56.165,24.285,56.315,24.435), (76.635,24.285,76.785,24.435), (76.955,24.285,77.105,24.435)])
A(bg_rrow, met2, 14.1, 1.25, 0.8, 0.8, 4, 2, 20.79, 22.55)
R(bg_rrow, via2, [(14.2,1.35,14.4,1.55), (14.6,1.35,14.8,1.55), (34.99,1.35,35.19,1.55), (35.39,1.35,35.59,1.55), (55.78,1.35,55.98,1.55), (56.18,1.35,56.38,1.55), (76.57,1.35,76.77,1.55), (76.97,1.35,77.17,1.55), (14.2,1.75,14.4,1.95), (14.6,1.75,14.8,1.95), (34.99,1.75,35.19,1.95), (35.39,1.75,35.59,1.95), (55.78,1.75,55.98,1.95), (56.18,1.75,56.38,1.95), (76.57,1.75,76.77,1.95), (76.97,1.75,77.17,1.95), (14.2,23.9,14.4,24.1), (14.6,23.9,14.8,24.1), (34.99,23.9,35.19,24.1), (35.39,23.9,35.59,24.1), (55.78,23.9,55.98,24.1), (56.18,23.9,56.38,24.1), (76.57,23.9,76.77,24.1), (76.97,23.9,77.17,24.1), (14.2,24.3,14.4,24.5), (14.6,24.3,14.8,24.5), (34.99,24.3,35.19,24.5), (35.39,24.3,35.59,24.5), (55.78,24.3,55.98,24.5), (56.18,24.3,56.38,24.5), (76.57,24.3,76.77,24.5), (76.97,24.3,77.17,24.5)])
R(bg_rrow, met3_pin, [(14.1,27.9,14.9,28.5), (76.47,27.9,77.27,28.5)])
A(bg_rrow, met3, 14.1, -2, 0.8, 3.2, 4, 1, 20.79, 0)
A(bg_rrow, met3, 14.05, 1.2, 0.9, 0.9, 4, 2, 20.79, 22.55)
R(bg_rrow, met3, [(14.1,-2.8,35.69,-2), (55.68,-2.8,77.27,-2), (14.1,24.65,14.9,28.5), (34.89,24.65,35.69,26.5), (55.68,24.65,56.48,26.5), (76.47,24.65,77.27,28.5), (34.89,26.5,56.48,27.3)])
bg_rrow.add(gdstk.Reference(bg_rrow_arr, (0.265,0.265)))
bg_rrow.add(gdstk.Label('VGND', (1.5,0.2), layer=67, texttype=5))
bg_rrow.add(gdstk.Label('vref', (86.32,-1.3), layer=68, texttype=5))
bg_rrow.add(gdstk.Label('veb3', (5.05,-1.3), layer=68, texttype=5))
bg_rrow.add(gdstk.Label('vb', (76.87,28.2), layer=70, texttype=5))
bg_rrow.add(gdstk.Label('eb2', (14.5,28.2), layer=70, texttype=5))

lib.write_gds('bg_rrow.gds')
